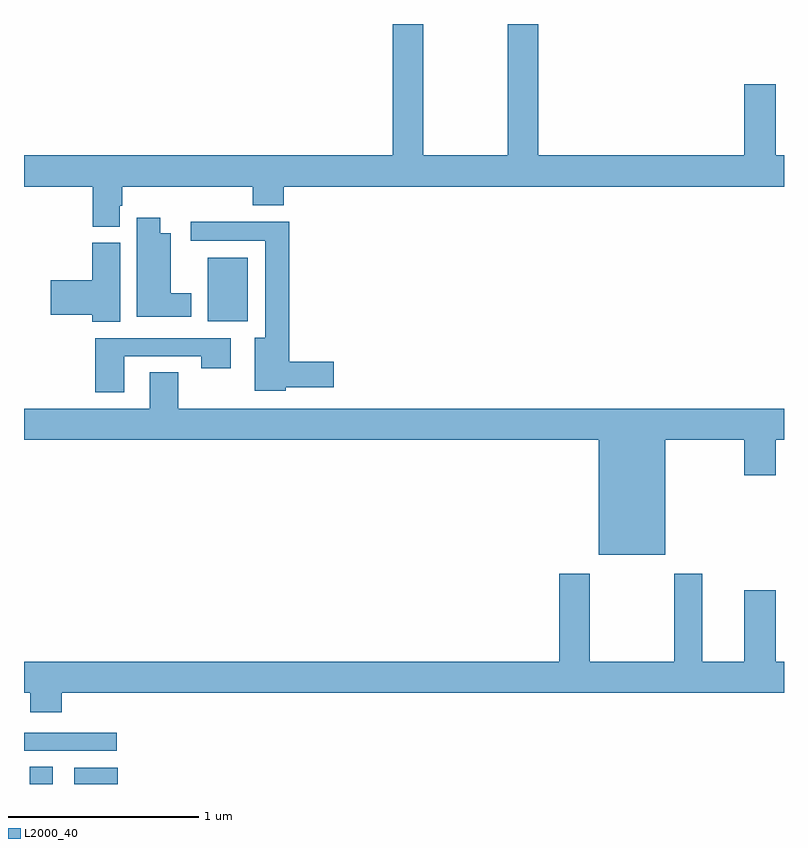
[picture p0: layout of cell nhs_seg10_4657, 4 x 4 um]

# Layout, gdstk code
import gdstk
lib = gdstk.Library(unit=1e-6, precision=1e-09)
def R(c, l, rs):  # rectangles x0, y0, x1, y1
    for r in rs: c.add(gdstk.rectangle(r[:2], r[2:], *l))
def P(c, l, *ps):  # polygons
    for p in ps: c.add(gdstk.Polygon(p, *l))
L2000_40 = (2000, 40)

nhs_seg10_4657 = lib.new_cell('nhs_seg10_4657')
R(nhs_seg10_4657, L2000_40, [(377.03,1302.5,377.152,1302.59), (377.264,1302.5,377.494,1302.586), (377,1302.675,377.488,1302.771), (377.966,1304.936,378.178,1305.271)])
P(nhs_seg10_4657, L2000_40, [(377.503,1305.543),(377.516,1305.543),(377.516,1305.644),(378.203,1305.644),(378.203,1305.545),(378.368,1305.545),(378.368,1305.644),(381,1305.644),(381,1305.808),(380.956,1305.808),(380.956,1306.183),(380.792,1306.183),(380.792,1305.808),(379.706,1305.808),(379.706,1306.5),(379.546,1306.5),(379.546,1305.808),(379.101,1305.808),(379.101,1306.5),(378.941,1306.5),(378.941,1305.808),(377,1305.808),(377,1305.644),(377.363,1305.644),(377.363,1305.433),(377.503,1305.433)],
  [(377.881,1305.082),(377.773,1305.082),(377.773,1305.4),(377.716,1305.4),(377.716,1305.481),(377.594,1305.481),(377.594,1304.96),(377.881,1304.96)],
  [(378.378,1304.588),(378.631,1304.588),(378.631,1304.723),(378.395,1304.723),(378.395,1305.458),(377.877,1305.458),(377.877,1305.36),(378.269,1305.36),(378.269,1304.848),(378.215,1304.848),(378.215,1304.57),(378.378,1304.57)],
  [(377.506,1305.348),(377.36,1305.348),(377.36,1305.152),(377.142,1305.152),(377.142,1304.969),(377.36,1304.969),(377.36,1304.932),(377.506,1304.932)],
  [(377.527,1304.751),(377.932,1304.751),(377.932,1304.688),(378.088,1304.688),(378.088,1304.847),(377.375,1304.847),(377.375,1304.562),(377.527,1304.562)],
  [(377.663,1304.666),(377.663,1304.476),(377,1304.476),(377,1304.312),(380.024,1304.312),(380.024,1303.706),(380.374,1303.706),(380.374,1304.312),(380.792,1304.312),(380.792,1304.124),(380.956,1304.124),(380.956,1304.312),(381,1304.312),(381,1304.476),(377.811,1304.476),(377.811,1304.666)],
  [(377.198,1302.98),(381,1302.98),(381,1303.144),(380.956,1303.144),(380.956,1303.519),(380.792,1303.519),(380.792,1303.144),(380.569,1303.144),(380.569,1303.606),(380.422,1303.606),(380.422,1303.144),(379.977,1303.144),(379.977,1303.606),(379.817,1303.606),(379.817,1303.144),(377,1303.144),(377,1302.98),(377.033,1302.98),(377.033,1302.878),(377.198,1302.878)])

lib.write_gds('nhs_seg10_4657.gds')
